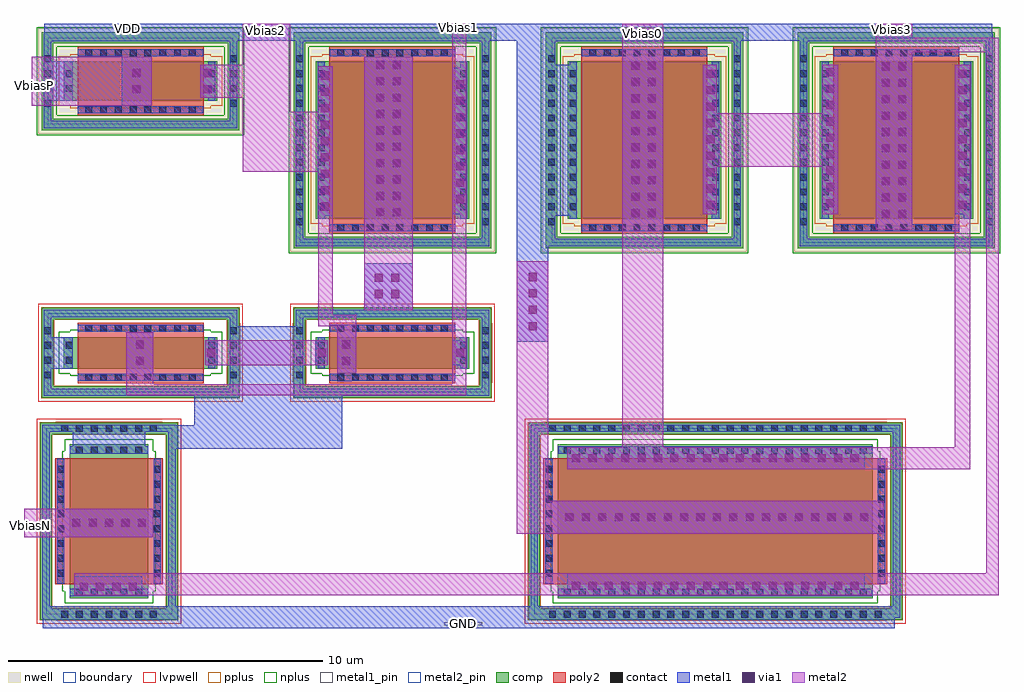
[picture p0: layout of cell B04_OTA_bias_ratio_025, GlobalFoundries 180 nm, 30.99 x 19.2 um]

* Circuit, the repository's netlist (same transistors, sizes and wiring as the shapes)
** sch_path: /foss/designs/AURA-Event-Driven-Mixed-Signal-ASIC-for-Acoustic-Pattern-Detection/analog/B04_OTA_bias_ratio_025.sch
.subckt B04_OTA_bias_ratio_025 VDD Vbias2 Vbias1 Vbias0 Vbias3 GND VbiasP VbiasN
*.PININFO VDD:B Vbias2:O Vbias1:O Vbias0:O Vbias3:O GND:B VbiasP:I VbiasN:I
M1 Vbias1 GND Vbias2 VDD pfet_03v3 L=4u W=5u nf=1
M4 Vbias1 Vbias2 net1 GND nfet_03v3 L=4u W=1u nf=1
M5 net1 Vbias1 GND GND nfet_03v3 L=4u W=1u nf=1
M9 net2 Vbias3 Vbias0 VDD pfet_03v3 L=4u W=5u nf=1
M10 VDD Vbias0 net2 VDD pfet_03v3 L=4u W=5u nf=1
M6 Vbias3 VDD Vbias0 GND nfet_03v3 L=4u W=10u nf=1
M2 Vbias2 VbiasP VDD VDD pfet_03v3 L=4u W=1.25u nf=1
M3 GND VbiasN Vbias3 GND nfet_03v3 L=4u W=2.5u nf=1
.ends

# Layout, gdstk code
from math import pi, radians
import gdstk
lib = gdstk.Library(unit=1e-6, precision=1e-09)
def R(c, l, rs):  # rectangles x0, y0, x1, y1
    for r in rs: c.add(gdstk.rectangle(r[:2], r[2:], *l))
def A(c, l, x, y, w, h, nx, ny, dx, dy):  # array of equal rectangles
    R(c, l, [(x+i*dx, y+j*dy, x+i*dx+w, y+j*dy+h) for i in range(nx) for j in range(ny)])
boundary = (0, 0)
nwell = (21, 0)
comp = (22, 0)
poly2 = (30, 0)
pplus = (31, 0)
nplus = (32, 0)
contact = (33, 0)
metal1 = (34, 0)
metal1_pin = (34, 10)
via1 = (35, 0)
metal2 = (36, 0)
metal2_pin = (36, 10)
lvpwell = (204, 0)

nfet_03v3_quhny4 = lib.new_cell('nfet_03v3_QUHNY4')
R(nfet_03v3_quhny4, boundary, [(-2.95,-2,2.95,2)])
R(nfet_03v3_quhny4, comp, [(-3.13,-2.18,3.13,-1.82), (-3.13,-1.82,-2.77,1.82), (2.77,-1.82,3.13,1.82), (-2.44,-1.25,2.44,1.25), (-3.13,1.82,3.13,2.18)])
R(nfet_03v3_quhny4, poly2, [(-2,-1.71,2,1.71)])
R(nfet_03v3_quhny4, pplus, [(-3.15,-2.2,3.15,-1.8), (-3.15,-1.8,-2.74,-1.695), (2.74,-1.8,3.15,-1.695), (-3.16,-1.695,-2.74,1.695), (2.74,-1.695,3.16,1.695), (-3.15,1.695,-2.74,1.8), (2.74,1.695,3.15,1.8), (-3.15,1.8,3.15,2.2)])
R(nfet_03v3_quhny4, nplus, [(-2.23,-1.48,2.23,-1.41), (-2.6,-1.41,2.6,1.41), (-2.23,1.41,2.23,1.48)])
A(nfet_03v3_quhny4, contact, -1.755, -1.64, 0.22, 0.22, 8, 2, 0.47, 3.06)
A(nfet_03v3_quhny4, contact, -3.06, -1.52, 0.22, 0.22, 1, 7, 0, 0.47)
A(nfet_03v3_quhny4, contact, 2.84, -1.52, 0.22, 0.22, 1, 7, 0, 0.47)
A(nfet_03v3_quhny4, contact, -2.37, -1.05, 0.22, 0.22, 1, 5, 0, 0.47)
A(nfet_03v3_quhny4, contact, 2.15, -1.05, 0.22, 0.22, 1, 5, 0, 0.47)
R(nfet_03v3_quhny4, metal1, [(-3.065,-2.115,3.065,-1.885), (-3.065,-1.885,-2.835,1.885), (2.835,-1.885,3.065,1.885), (-1.99,-1.645,1.99,-1.415), (-2.375,-1.24,-2.145,1.24), (2.145,-1.24,2.375,1.24), (-1.99,1.415,1.99,1.645), (-3.065,1.885,3.065,2.115)])
R(nfet_03v3_quhny4, lvpwell, [(-3.25,-2.3,3.25,2.3)])

pfet_03v3_aerj7t = lib.new_cell('pfet_03v3_AERJ7T')
R(pfet_03v3_aerj7t, boundary, [(-2.95,-3.25,2.95,3.25)])
R(pfet_03v3_aerj7t, nwell, [(-3.25,-3.55,3.25,3.55)])
R(pfet_03v3_aerj7t, comp, [(-3.13,-3.43,3.13,-3.07), (-3.13,-3.07,-2.77,3.07), (2.77,-3.07,3.13,3.07), (-2.44,-2.5,2.44,2.5), (-3.13,3.07,3.13,3.43)])
R(pfet_03v3_aerj7t, poly2, [(-2,-2.96,2,2.96)])
R(pfet_03v3_aerj7t, pplus, [(-2.23,-2.73,2.23,-2.66), (-2.6,-2.66,2.6,2.66), (-2.23,2.66,2.23,2.73)])
R(pfet_03v3_aerj7t, nplus, [(-3.29,-3.59,3.29,-2.96), (-3.29,-2.96,-2.66,2.96), (2.66,-2.96,3.29,2.96), (-3.29,2.96,3.29,3.59)])
A(pfet_03v3_aerj7t, contact, -1.755, -2.89, 0.22, 0.22, 8, 2, 0.47, 5.56)
A(pfet_03v3_aerj7t, contact, -3.06, -2.695, 0.22, 0.22, 1, 12, 0, 0.47)
A(pfet_03v3_aerj7t, contact, 2.84, -2.695, 0.22, 0.22, 1, 12, 0, 0.47)
A(pfet_03v3_aerj7t, contact, -2.37, -2.225, 0.22, 0.22, 1, 10, 0, 0.47)
A(pfet_03v3_aerj7t, contact, 2.15, -2.225, 0.22, 0.22, 1, 10, 0, 0.47)
R(pfet_03v3_aerj7t, metal1, [(-3.065,-3.365,3.065,-3.135), (-3.065,-3.135,-2.835,3.135), (2.835,-3.135,3.065,3.135), (-1.99,-2.895,1.99,-2.665), (-2.375,-2.49,-2.145,2.49), (2.145,-2.49,2.375,2.49), (-1.99,2.665,1.99,2.895), (-3.065,3.135,3.065,3.365)])

nfet_03v3_gptq69 = lib.new_cell('nfet_03v3_GPTQ69')
R(nfet_03v3_gptq69, boundary, [(-2.95,-5.75,2.95,5.75)])
R(nfet_03v3_gptq69, comp, [(-3.13,-5.93,3.13,-5.57), (-3.13,-5.57,-2.77,5.57), (2.77,-5.57,3.13,5.57), (-2.44,-5,2.44,5), (-3.13,5.57,3.13,5.93)])
R(nfet_03v3_gptq69, poly2, [(-2,-5.46,2,5.46)])
R(nfet_03v3_gptq69, pplus, [(-3.15,-5.95,3.15,-5.55), (-3.15,-5.55,-2.74,-5.445), (2.74,-5.55,3.15,-5.445), (-3.16,-5.445,-2.74,5.445), (2.74,-5.445,3.16,5.445), (-3.15,5.445,-2.74,5.55), (2.74,5.445,3.15,5.55), (-3.15,5.55,3.15,5.95)])
R(nfet_03v3_gptq69, nplus, [(-2.23,-5.23,2.23,-5.16), (-2.6,-5.16,2.6,5.16), (-2.23,5.16,2.23,5.23)])
A(nfet_03v3_gptq69, contact, -1.755, -5.39, 0.22, 0.22, 8, 2, 0.47, 10.56)
A(nfet_03v3_gptq69, contact, -3.06, -5.28, 0.22, 0.22, 1, 23, 0, 0.47)
A(nfet_03v3_gptq69, contact, 2.84, -5.28, 0.22, 0.22, 1, 23, 0, 0.47)
A(nfet_03v3_gptq69, contact, -2.37, -4.81, 0.22, 0.22, 1, 21, 0, 0.47)
A(nfet_03v3_gptq69, contact, 2.15, -4.81, 0.22, 0.22, 1, 21, 0, 0.47)
R(nfet_03v3_gptq69, metal1, [(-3.065,-5.865,3.065,-5.635), (-3.065,-5.635,-2.835,5.635), (2.835,-5.635,3.065,5.635), (-1.99,-5.395,1.99,-5.165), (-2.375,-4.99,-2.145,4.99), (2.145,-4.99,2.375,4.99), (-1.99,5.165,1.99,5.395), (-3.065,5.635,3.065,5.865)])
R(nfet_03v3_gptq69, lvpwell, [(-3.25,-6.05,3.25,6.05)])

nfet_03v3_rec73x = lib.new_cell('nfet_03v3_REC73X')
R(nfet_03v3_rec73x, boundary, [(-2.95,-1.25,2.95,1.25)])
R(nfet_03v3_rec73x, comp, [(-3.13,-1.43,3.13,-1.07), (-3.13,-1.07,-2.77,1.07), (2.77,-1.07,3.13,1.07), (-2.44,-0.5,2.44,0.5), (-3.13,1.07,3.13,1.43)])
R(nfet_03v3_rec73x, poly2, [(-2,-0.96,2,0.96)])
R(nfet_03v3_rec73x, pplus, [(-3.15,-1.45,3.15,-1.05), (-3.15,-1.05,-2.74,-0.945), (2.74,-1.05,3.15,-0.945), (-3.16,-0.945,-2.74,0.945), (2.74,-0.945,3.16,0.945), (-3.15,0.945,-2.74,1.05), (2.74,0.945,3.15,1.05), (-3.15,1.05,3.15,1.45)])
R(nfet_03v3_rec73x, nplus, [(-2.23,-0.73,2.23,-0.66), (-2.6,-0.66,2.6,0.66), (-2.23,0.66,2.23,0.73)])
A(nfet_03v3_rec73x, contact, -1.755, -0.89, 0.22, 0.22, 8, 2, 0.47, 1.56)
A(nfet_03v3_rec73x, contact, -3.06, -0.815, 0.22, 0.22, 1, 4, 0, 0.47)
A(nfet_03v3_rec73x, contact, 2.84, -0.815, 0.22, 0.22, 1, 4, 0, 0.47)
R(nfet_03v3_rec73x, contact, [(-2.37,-0.345,-2.15,-0.125), (2.15,-0.345,2.37,-0.125), (-2.37,0.125,-2.15,0.345), (2.15,0.125,2.37,0.345)])
R(nfet_03v3_rec73x, metal1, [(-3.065,-1.365,3.065,-1.135), (-3.065,-1.135,-2.835,1.135), (2.835,-1.135,3.065,1.135), (-1.99,-0.895,1.99,-0.665), (-2.375,-0.49,-2.145,0.49), (2.145,-0.49,2.375,0.49), (-1.99,0.665,1.99,0.895), (-3.065,1.135,3.065,1.365)])
R(nfet_03v3_rec73x, lvpwell, [(-3.25,-1.55,3.25,1.55)])

pfet_03v3_bmv8w2 = lib.new_cell('pfet_03v3_BMV8W2')
R(pfet_03v3_bmv8w2, boundary, [(-2.95,-1.375,2.95,1.375)])
R(pfet_03v3_bmv8w2, nwell, [(-3.25,-1.675,3.25,1.675)])
R(pfet_03v3_bmv8w2, comp, [(-3.13,-1.555,3.13,-1.195), (-3.13,-1.195,-2.77,1.195), (2.77,-1.195,3.13,1.195), (-2.44,-0.625,2.44,0.625), (-3.13,1.195,3.13,1.555)])
R(pfet_03v3_bmv8w2, poly2, [(-2,-1.085,2,1.085)])
R(pfet_03v3_bmv8w2, pplus, [(-2.23,-0.855,2.23,-0.785), (-2.6,-0.785,2.6,0.785), (-2.23,0.785,2.23,0.855)])
R(pfet_03v3_bmv8w2, nplus, [(-3.29,-1.715,3.29,-1.085), (-3.29,-1.085,-2.66,1.085), (2.66,-1.085,3.29,1.085), (-3.29,1.085,3.29,1.715)])
A(pfet_03v3_bmv8w2, contact, -1.755, -1.015, 0.22, 0.22, 8, 2, 0.47, 1.81)
A(pfet_03v3_bmv8w2, contact, -3.06, -0.815, 0.22, 0.22, 1, 4, 0, 0.47)
A(pfet_03v3_bmv8w2, contact, 2.84, -0.815, 0.22, 0.22, 1, 4, 0, 0.47)
R(pfet_03v3_bmv8w2, contact, [(-2.37,-0.345,-2.15,-0.125), (2.15,-0.345,2.37,-0.125), (-2.37,0.125,-2.15,0.345), (2.15,0.125,2.37,0.345)])
R(pfet_03v3_bmv8w2, metal1, [(-3.065,-1.49,3.065,-1.26), (-3.065,-1.26,-2.835,1.26), (2.835,-1.26,3.065,1.26), (-1.99,-1.02,1.99,-0.79), (-2.375,-0.615,-2.145,0.615), (2.145,-0.615,2.375,0.615), (-1.99,0.79,1.99,1.02), (-3.065,1.26,3.065,1.49)])

b04_ota_bias_ratio_025 = lib.new_cell('B04_OTA_bias_ratio_025')
R(b04_ota_bias_ratio_025, metal1, [(-0.35,-12.25,26.7,-11.55), (16.3,-11.2,25.75,-10.5), (0.75,-11.15,2.7,-11.1), (0.65,-11.1,2.8,-10.6), (0.15,-9.35,3.3,-8.45), (15.65,-9.25,26.35,-8.2), (16.3,-7.2,25.75,-6.5), (3.75,-6.55,9.15,-5.8), (0.6,-6.5,2.9,-5.9), (4.45,-5.8,9.15,-4.75), (5.75,-4.75,7.7,-4.4), (5.6,-4.4,7.85,-2.65), (9,-4.4,9.45,-4.2), (2.3,-4.35,3.15,-2.65), (9,-4.2,9.6,-2.8), (-0.25,-4,0.5,-3), (4.8,-3.9,5.2,-3.1), (8.3,-3.9,8.7,-3.1), (12.65,-3.9,13.1,-3.1), (14.7,-3.15,15.7,6.4), (9,-2.8,9.45,-2.65), (9.85,-2.2,11.4,-0.65), (9.85,0.4,11.4,6.1), (18.05,0.4,19.35,6.1), (26.1,0.4,27.25,6.05), (8.4,0.85,8.85,5.6), (15.75,0.85,16.6,5.65), (12.65,0.9,13,1), (20.6,0.9,21.05,5.65), (24.45,0.9,24.9,5.65), (28.6,0.9,29.1,5.65), (12.65,1,13.05,5.4), (2.15,4.15,3.1,5.95), (-0.25,4.5,0.45,5.75), (4.65,4.6,5.1,5.65), (12.65,5.4,13,5.55), (2.1,5.95,3.3,6.1), (-0.3,6.4,29.8,6.95)])
R(b04_ota_bias_ratio_025, metal1_pin, [(12.4,-12.15,13.6,-12.05), (1.95,6.75,2.7,6.85)])
A(b04_ota_bias_ratio_025, via1, 0.815, -11.055, 0.26, 0.26, 4, 1, 0.52, 0)
A(b04_ota_bias_ratio_025, via1, 16.45, -11.03, 0.26, 0.26, 18, 2, 0.52, 4.05)
A(b04_ota_bias_ratio_025, via1, 0.58, -9.03, 0.26, 0.26, 5, 1, 0.52, 0)
A(b04_ota_bias_ratio_025, via1, 16.24, -8.855, 0.26, 0.26, 19, 1, 0.52, 0)
A(b04_ota_bias_ratio_025, via1, 15.07, -2.785, 0.26, 0.26, 1, 4, 0, 0.52)
A(b04_ota_bias_ratio_025, via1, 26.285, 0.78, 0.26, 0.26, 1, 10, 0, 0.52)
A(b04_ota_bias_ratio_025, via1, 26.805, 0.78, 0.26, 0.26, 1, 10, 0, 0.52)
A(b04_ota_bias_ratio_025, via1, 18.335, 0.805, 0.26, 0.26, 1, 10, 0, 0.52)
A(b04_ota_bias_ratio_025, via1, 18.855, 0.805, 0.26, 0.26, 1, 10, 0, 0.52)
A(b04_ota_bias_ratio_025, via1, 10.235, 0.83, 0.26, 0.26, 1, 10, 0, 0.52)
A(b04_ota_bias_ratio_025, via1, 10.755, 0.83, 0.26, 0.26, 1, 10, 0, 0.52)
A(b04_ota_bias_ratio_025, via1, 8.47, 1.015, 0.26, 0.26, 1, 9, 0, 0.52)
A(b04_ota_bias_ratio_025, via1, 20.72, 1.065, 0.26, 0.26, 1, 9, 0, 0.52)
A(b04_ota_bias_ratio_025, via1, 28.72, 1.065, 0.26, 0.26, 1, 9, 0, 0.52)
A(b04_ota_bias_ratio_025, via1, 24.52, 1.115, 0.26, 0.26, 1, 9, 0, 0.52)
A(b04_ota_bias_ratio_025, via1, 12.77, 1.25, 0.26, 0.26, 1, 8, 0, 0.52)
R(b04_ota_bias_ratio_025, via1, [(2.595,-3.89,2.855,-3.63), (9.145,-3.89,9.405,-3.63), (4.87,-3.63,5.13,-3.37), (8.37,-3.63,8.63,-3.37), (12.77,-3.63,13.03,-3.37), (2.595,-3.37,2.855,-3.11), (9.145,-3.37,9.405,-3.11), (10.185,-1.765,10.445,-1.505), (10.705,-1.765,10.965,-1.505), (10.185,-1.245,10.445,-0.985), (10.705,-1.245,10.965,-0.985), (2.495,4.735,2.755,4.995), (4.745,4.735,5.005,4.995), (2.495,5.255,2.755,5.515), (4.745,5.255,5.005,5.515)])
R(b04_ota_bias_ratio_025, metal2, [(0.65,-11.2,30,-10.5), (29.6,-10.5,30,6.05), (-0.95,-9.35,3.15,-8.45), (14.7,-9.25,26.35,-8.2), (14.7,-8.2,15.7,-0.6), (16.3,-7.2,29.1,-6.5), (18.05,-6.5,19.35,6.95), (28.6,-6.5,29.1,5.65), (2.3,-4.85,13.1,-4.5), (2.3,-4.5,3.15,-2.85), (12.65,-4.5,13.1,6.95), (9,-4.15,9.6,-2.65), (4.8,-3.9,8.7,-3.1), (8.4,-2.65,9.6,-2.3), (8.4,-2.3,8.85,2.25), (9.85,-2.15,11.4,5.9), (26.1,0.4,27.25,6.05), (20.6,0.9,21.05,2.4), (24.4,0.9,24.9,2.4), (6,2.25,8.85,4.15), (20.6,2.4,24.9,4.1), (20.6,4.1,21.05,5.65), (24.4,4.1,24.9,5.65), (6,4.15,7.5,4.6), (8.4,4.15,8.85,5.6), (-0.7,4.35,3.1,5.9), (4.65,4.6,7.5,5.65), (6,5.65,7.5,6.95), (26.1,6.05,30,6.5), (26.1,6.5,27.25,6.95)])
R(b04_ota_bias_ratio_025, metal2_pin, [(-0.8,-9.05,-0.7,-8.9), (-0.65,4.9,-0.6,5.1), (18.4,6.5,19,6.75), (6.55,6.65,6.9,6.8), (26.3,6.7,26.9,6.85), (12.75,6.75,12.95,6.9)])
R(b04_ota_bias_ratio_025, lvpwell, [(4.8,-3.9,5,-3.75)])
b04_ota_bias_ratio_025.add(gdstk.Reference(nfet_03v3_quhny4, (1.75,-8.85), rotation=3*pi/2))
b04_ota_bias_ratio_025.add(gdstk.Reference(pfet_03v3_aerj7t, (18.75,3.25)))
b04_ota_bias_ratio_025.add(gdstk.Reference(pfet_03v3_aerj7t, (26.75,3.25)))
b04_ota_bias_ratio_025.add(gdstk.Reference(nfet_03v3_gptq69, (21,-8.85), rotation=3*pi/2))
b04_ota_bias_ratio_025.add(gdstk.Reference(nfet_03v3_rec73x, (2.75,-3.5)))
b04_ota_bias_ratio_025.add(gdstk.Reference(nfet_03v3_rec73x, (10.75,-3.5)))
b04_ota_bias_ratio_025.add(gdstk.Reference(pfet_03v3_bmv8w2, (2.75,5.125)))
b04_ota_bias_ratio_025.add(gdstk.Reference(pfet_03v3_aerj7t, (10.75,3.25)))
b04_ota_bias_ratio_025.add(gdstk.Label('VDD', (2.325,6.8), layer=34, texttype=10))
b04_ota_bias_ratio_025.add(gdstk.Label('Vbias2', (6.725,6.725), layer=36, texttype=10))
b04_ota_bias_ratio_025.add(gdstk.Label('Vbias1', (12.85,6.825), layer=36, texttype=10))
b04_ota_bias_ratio_025.add(gdstk.Label('Vbias0', (18.7,6.625), layer=36, texttype=10))
b04_ota_bias_ratio_025.add(gdstk.Label('Vbias3', (26.6,6.775), layer=36, texttype=10))
b04_ota_bias_ratio_025.add(gdstk.Label('GND', (13,-12.1), layer=34, texttype=10))
b04_ota_bias_ratio_025.add(gdstk.Label('VbiasP', (-0.625,5), layer=36, texttype=10))
b04_ota_bias_ratio_025.add(gdstk.Label('VbiasN', (-0.75,-8.975), layer=36, texttype=10))

lib.write_gds('B04_OTA_bias_ratio_025.gds')
